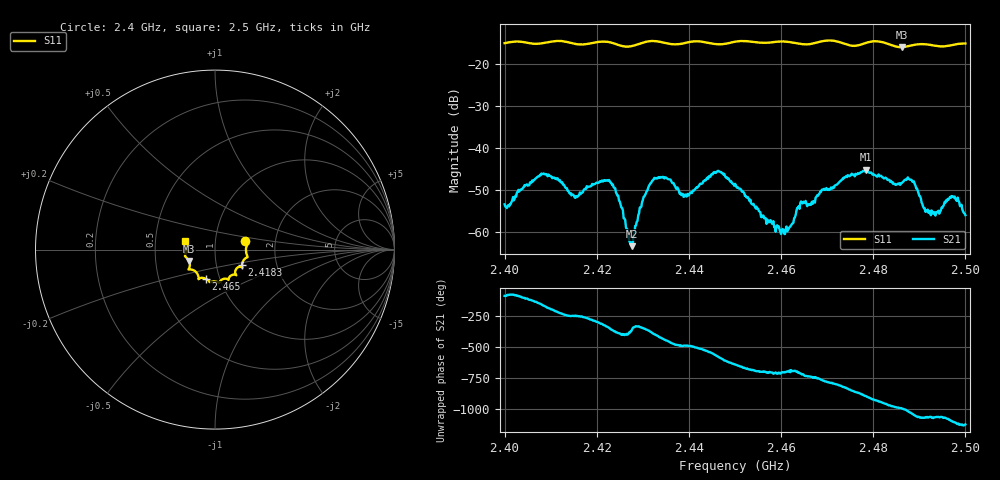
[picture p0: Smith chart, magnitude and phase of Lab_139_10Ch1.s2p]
# Hz S RI R 50
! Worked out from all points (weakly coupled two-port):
!   601 points, 2.4 GHz to 2.5 GHz, reference 50 ohm
!   highest |S21| = -45.17 dB at 2.4783 GHz (marker M1); lowest = -63.3 dB at 2.4277 GHz (marker M2)
!   lowest |S11| = -16.1 dB at 2.4862 GHz (marker M3), VSWR 1.37, Z = 37.2 - j4.83 ohm
!   |S11| at or under -10 dB: start of sweep to end of sweep
!   S12 and S22 are empty: the file has one direction only
!   S11 on the Smith chart (normalised r, x): 2.4 GHz: 1.40, +0.13; 2.4183 GHz: 1.33, -0.24; 2.465 GHz: 0.86, -0.29; 2.5 GHz: 0.71, +0.07
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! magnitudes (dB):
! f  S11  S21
! 2.4 GHz  -15.1  -53.4
! 2.4082 GHz  -15.1  -46.2
! 2.415 GHz  -15.2  -51.3
! 2.4167 GHz  -15.4  -50.7
! 2.4183 GHz  -15.2  -49.2
! 2.4232 GHz  -15.0  -48.3
! 2.4277 GHz  -15.8  -63.3
! 2.4303 GHz  -14.9  -51.5
! 2.4333 GHz  -14.7  -47.0
! 2.4393 GHz  -15.0  -51.2
! 2.446 GHz  -15.4  -45.6
! 2.45 GHz  -14.8  -48.5
! 2.4603 GHz  -14.7  -59.2
! 2.465 GHz  -15.4  -53.1
! 2.4667 GHz  -15.3  -52.8
! 2.4783 GHz  -15.1  -45.2
! 2.4833 GHz  -15.3  -47.5
! 2.4862 GHz  -16.1  -48.4
! 2.4887 GHz  -15.6  -48.1
! 2.492 GHz  -15.5  -55.4
! 2.4972 GHz  -15.6  -51.5
! 2.5 GHz  -15.2  -56.0
